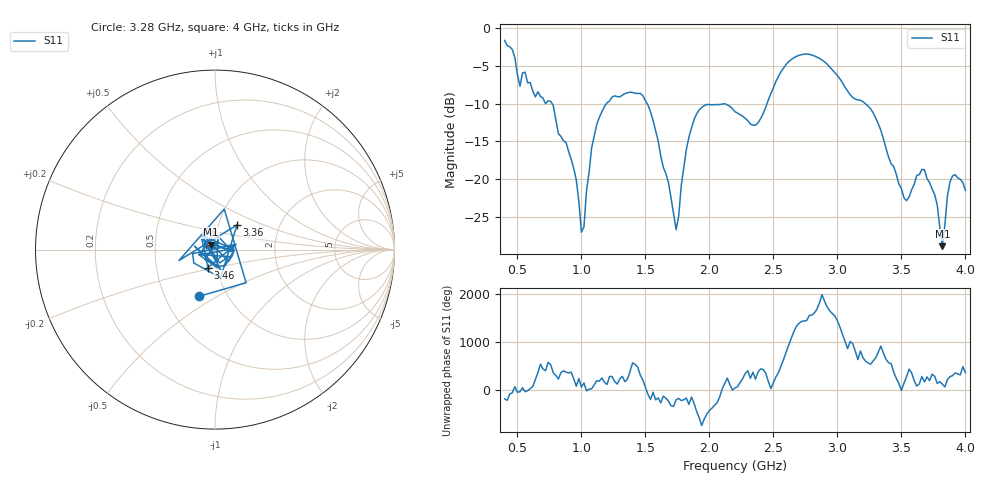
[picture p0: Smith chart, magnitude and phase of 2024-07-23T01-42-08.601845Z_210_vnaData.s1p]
!Created with skrf (http://scikit-rf.org).
# Hz S RI R 50.0
!freq ReS11 ImS11
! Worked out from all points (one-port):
!   181 points, 400 MHz to 4 GHz, reference 50 ohm
!   lowest |S11| = -28.9 dB at 3.82 GHz (marker M1), VSWR 1.07, Z = 47.7 + j2.71 ohm
!   |S11| at or under -10 dB: 770.5 MHz to 1.196 GHz (425.9 MHz wide, 43.3 % of centre); 1.513 GHz to 2.451 GHz (937.6 MHz wide, 47.3 % of centre); 3.218 GHz to end of sweep (the widest 3 of 4)
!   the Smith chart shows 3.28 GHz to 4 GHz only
!   S11 on the Smith chart (normalised r, x): 3.28 GHz: 0.74, -0.42; 3.36 GHz: 1.23, +0.35; 3.46 GHz: 0.91, -0.18; 4 GHz: 1.18, +0.02
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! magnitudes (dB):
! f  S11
! 400 MHz  -1.7
! 520 MHz  -7.7
! 560 MHz  -5.9
! 760 MHz  -9.7
! 860 MHz  -14.9
! 960 MHz  -20.1
! 1 GHz  -27.0
! 1.12 GHz  -12.8
! 1.3 GHz  -9.1
! 1.52 GHz  -10.2
! 1.74 GHz  -26.7
! 1.76 GHz  -24.9
! 1.82 GHz  -16.1
! 1.9 GHz  -11.4
! 2.2 GHz  -11.1
! 2.38 GHz  -12.6
! 2.66 GHz  -3.9
! 2.88 GHz  -4.2
! 3.1 GHz  -8.8
! 3.28 GHz  -11.2
! 3.36 GHz  -14.7
! 3.46 GHz  -19.3
! 3.56 GHz  -22.4
! 3.68 GHz  -18.7
! 3.78 GHz  -23.4
! 3.82 GHz  -28.9
! 3.88 GHz  -20.4
! 4 GHz  -21.5
